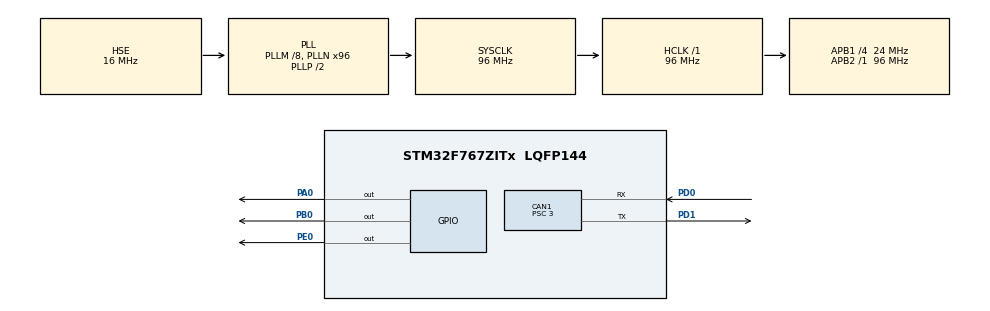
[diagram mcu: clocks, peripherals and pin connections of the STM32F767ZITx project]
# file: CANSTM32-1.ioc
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CAN1.BS1=CAN_BS1_13TQ
CAN1.BS2=CAN_BS2_2TQ
CAN1.CalculateBaudRate=500000
CAN1.CalculateTimeBit=2000
CAN1.CalculateTimeQuantum=125.0
CAN1.Prescaler=3
Mcu.Family=STM32F7
Mcu.Name=STM32F767ZITx
Mcu.Package=LQFP144
NVIC.CAN1_RX0_IRQn=true\:0\:0\:false\:false\:true\:true\:true\:true
NVIC.PriorityGroup=NVIC_PRIORITYGROUP_4
PA0/WKUP.Signal=GPIO_Output
PB0.Signal=GPIO_Output
PD0.GPIO_PuPd=GPIO_PULLUP
PD0.Mode=CAN_Activate
PD0.Signal=CAN1_RX
PD1.Mode=CAN_Activate
PD1.Signal=CAN1_TX
PE0.Signal=GPIO_Output
PH0/OSC_IN.Mode=HSE-External-Oscillator
PH0/OSC_IN.Signal=RCC_OSC_IN
PH1/OSC_OUT.Mode=HSE-External-Oscillator
PH1/OSC_OUT.Signal=RCC_OSC_OUT
ProjectManager.HeapSize=0x200
ProjectManager.StackSize=0x400
ProjectManager.TargetToolchain=STM32CubeIDE
RCC.48MHZClocksFreq_Value=24000000
RCC.AHBFreq_Value=96000000
RCC.APB1CLKDivider=RCC_HCLK_DIV4
RCC.APB1Freq_Value=24000000
RCC.APB1TimFreq_Value=48000000
RCC.APB2Freq_Value=96000000
RCC.APB2TimFreq_Value=96000000
RCC.CortexFreq_Value=96000000
RCC.HCLKFreq_Value=96000000
RCC.HSE_VALUE=16000000
RCC.HSI_VALUE=16000000
RCC.LSE_VALUE=32768
RCC.PLLM=8
RCC.PLLMUL=RCC_PLL_MUL9
RCC.PLLN=96
RCC.PLLSourceVirtual=RCC_PLLSOURCE_HSE
RCC.PRESCALERUSB=RCC_USBCLKSOURCE_PLL_DIV1_5
RCC.SYSCLKFreq_VALUE=96000000
RCC.SYSCLKSource=RCC_SYSCLKSOURCE_PLLCLK
RCC.SYSCLKSourceVirtual=RCC_SYSCLKSOURCE_PLLCLK
RCC.USBFreq_Value=96000000
RCC.VCOOutputFreq_Value=192000000
board=NUCLEO-F767ZI

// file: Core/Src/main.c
/* USER CODE BEGIN Header */
/**
  ******************************************************************************
  * @file           : main.c
  * @brief          : Main program body
  ******************************************************************************
  * @attention
  *
  * Copyright (c) 2024 STMicroelectronics.
  * All rights reserved.
  *
  * This software is licensed under terms that can be found in the LICENSE file
  * in the root directory of this software component.
  * If no LICENSE file comes with this software, it is provided AS-IS.
  *
  ******************************************************************************
  */
/* USER CODE END Header */
#include "main.h"

CAN_HandleTypeDef hcan1;

/* USER CODE BEGIN PV */
CAN_TxHeaderTypeDef htx1;
CAN_RxHeaderTypeDef hrx1;
uint32_t txMailbox;

uint8_t RGB_LED = 0x00;			// color of RGB LED
uint8_t BUTTON_PRESSED = 0;     // User button pressed on other MCU
uint8_t MSG_LED = 0;			// Signal to turn on LED connected to other MCU

/* USER CODE END PV */

void SystemClock_Config(void);
static void MX_GPIO_Init(void);
static void MX_CAN1_Init(void);
/* USER CODE BEGIN PFP */
// Interrupt-based routine that triggers when a message is received
void HAL_CAN_RxFifo0MsgPendingCallback(CAN_HandleTypeDef* hcan1){
	if(HAL_CAN_GetRxMessage(hcan1, CAN_RX_FIFO0, &hrx1, &BUTTON_PRESSED) != HAL_OK){
		Error_Handler();
	}
	else{
		if(BUTTON_PRESSED){
			RGB_LED = (RGB_LED + 1 <= 7) ? (RGB_LED + 1) : 0;	 // If user button pressed on other MCU, change RGB LED color
			MSG_LED = (RGB_LED == 0) ? 1 : 0;
			HAL_GPIO_WritePin(GPIOA, GPIO_PIN_0, RGB_LED & 0x01);
			HAL_GPIO_WritePin(GPIOB, GPIO_PIN_0, RGB_LED & 0x02);
			HAL_GPIO_WritePin(GPIOE, GPIO_PIN_0, RGB_LED & 0x04);
			BUTTON_PRESSED = 0;									 // Reset user button SW
		}
	}

	if(HAL_CAN_AddTxMessage(hcan1, &htx1, &MSG_LED, &txMailbox) != HAL_OK){
		Error_Handler();
	}
	else{
		while(HAL_CAN_GetTxMailboxesFreeLevel(hcan1) != 3){} // wait for successful transmission
	}
}
/* USER CODE END PFP */

int main(void)
{

  /* MCU Configuration--------------------------------------------------------*/

  /* Reset of all peripherals, Initializes the Flash interface and the Systick. */
  HAL_Init();

  /* Configure the system clock */
  SystemClock_Config();

  /* Initialize all configured peripherals */
  MX_GPIO_Init();
  MX_CAN1_Init();

  /* Infinite loop */
  while (1)
  {

  }
}

void SystemClock_Config(void)
{
  RCC_OscInitTypeDef RCC_OscInitStruct = {0};
  RCC_ClkInitTypeDef RCC_ClkInitStruct = {0};

  /** Configure the main internal regulator output voltage
  */
  __HAL_RCC_PWR_CLK_ENABLE();
  __HAL_PWR_VOLTAGESCALING_CONFIG(PWR_REGULATOR_VOLTAGE_SCALE3);

  /** Initializes the RCC Oscillators according to the specified parameters
  * in the RCC_OscInitTypeDef structure.
  */
  RCC_OscInitStruct.OscillatorType = RCC_OSCILLATORTYPE_HSE;
  RCC_OscInitStruct.HSEState = RCC_HSE_ON;
  RCC_OscInitStruct.PLL.PLLState = RCC_PLL_ON;
  RCC_OscInitStruct.PLL.PLLSource = RCC_PLLSOURCE_HSE;
  RCC_OscInitStruct.PLL.PLLM = 8;
  RCC_OscInitStruct.PLL.PLLN = 96;
  RCC_OscInitStruct.PLL.PLLP = RCC_PLLP_DIV2;
  RCC_OscInitStruct.PLL.PLLQ = 2;
  RCC_OscInitStruct.PLL.PLLR = 2;
  if (HAL_RCC_OscConfig(&RCC_OscInitStruct) != HAL_OK)
  {
    Error_Handler();
  }

  /** Activate the Over-Drive mode
  */
  if (HAL_PWREx_EnableOverDrive() != HAL_OK)
  {
    Error_Handler();
  }

  /** Initializes the CPU, AHB and APB buses clocks
  */
  RCC_ClkInitStruct.ClockType = RCC_CLOCKTYPE_HCLK|RCC_CLOCKTYPE_SYSCLK
                              |RCC_CLOCKTYPE_PCLK1|RCC_CLOCKTYPE_PCLK2;
  RCC_ClkInitStruct.SYSCLKSource = RCC_SYSCLKSOURCE_PLLCLK;
  RCC_ClkInitStruct.AHBCLKDivider = RCC_SYSCLK_DIV1;
  RCC_ClkInitStruct.APB1CLKDivider = RCC_HCLK_DIV4;
  RCC_ClkInitStruct.APB2CLKDivider = RCC_HCLK_DIV1;

  if (HAL_RCC_ClockConfig(&RCC_ClkInitStruct, FLASH_LATENCY_3) != HAL_OK)
  {
    Error_Handler();
  }
}

static void MX_CAN1_Init(void)
{

  hcan1.Instance = CAN1;
  hcan1.Init.Prescaler = 3;
  hcan1.Init.Mode = CAN_MODE_NORMAL;
  hcan1.Init.SyncJumpWidth = CAN_SJW_1TQ;
  hcan1.Init.TimeSeg1 = CAN_BS1_13TQ;
  hcan1.Init.TimeSeg2 = CAN_BS2_2TQ;
  hcan1.Init.TimeTriggeredMode = DISABLE;
  hcan1.Init.AutoBusOff = DISABLE;
  hcan1.Init.AutoWakeUp = DISABLE;
  hcan1.Init.AutoRetransmission = DISABLE;
  hcan1.Init.ReceiveFifoLocked = DISABLE;
  hcan1.Init.TransmitFifoPriority = DISABLE;
  if (HAL_CAN_Init(&hcan1) != HAL_OK)
  {
    Error_Handler();
  }
  /* USER CODE BEGIN CAN1_Init 2 */
  if (HAL_CAN_Start(&hcan1) != HAL_OK)
  {
    Error_Handler();
  }

  // MUST SET UP FILTER TO RECEIVE AND TRANSMIT CAN SIGNALS

  CAN_FilterTypeDef cfil;
  cfil.FilterActivation = ENABLE;
  cfil.FilterMode = CAN_FILTERMODE_IDMASK;
  cfil.FilterFIFOAssignment = CAN_FILTER_FIFO0;
  cfil.FilterBank = 0;						// specified to be between 0 and 13
  cfil.FilterScale = CAN_FILTERSCALE_32BIT; // 32-bit filter
  cfil.FilterMaskIdHigh = 0x7FF << 5; 		// Filter out all other Id's except for communication from the other NUCLEO
  cfil.FilterIdHigh = 0x010 << 5;			// ID of other NUCLEO
  cfil.FilterIdLow = 0;						// lower 16 bits remain unused
  cfil.FilterMaskIdLow = 0;

  // Configure the digital filter
  if(HAL_CAN_ConfigFilter(&hcan1, &cfil) != HAL_OK)
  {
  	Error_Handler();
  }

  // Trigger interrupts on message received
  if(HAL_CAN_ActivateNotification(&hcan1, CAN_IT_RX_FIFO0_MSG_PENDING) != HAL_OK)
  {
	Error_Handler();
  }

  htx1.StdId = 0x020;
  htx1.DLC = 1;							// 1 byte of data
  htx1.IDE = CAN_ID_STD;				// standard ID
  htx1.RTR = CAN_RTR_DATA;				// data frame
  htx1.TransmitGlobalTime = DISABLE;

  /* USER CODE END CAN1_Init 2 */

}

static void MX_GPIO_Init(void)
{
  GPIO_InitTypeDef GPIO_InitStruct = {0};

  /* GPIO Ports Clock Enable */
  __HAL_RCC_GPIOH_CLK_ENABLE();
  __HAL_RCC_GPIOA_CLK_ENABLE();
  __HAL_RCC_GPIOB_CLK_ENABLE();
  __HAL_RCC_GPIOD_CLK_ENABLE();
  __HAL_RCC_GPIOE_CLK_ENABLE();

  /*Configure GPIO pin Output Level */
  HAL_GPIO_WritePin(GPIOA, GPIO_PIN_0, GPIO_PIN_RESET);

  /*Configure GPIO pin Output Level */
  HAL_GPIO_WritePin(GPIOB, GPIO_PIN_0, GPIO_PIN_RESET);

  /*Configure GPIO pin Output Level */
  HAL_GPIO_WritePin(GPIOE, GPIO_PIN_0, GPIO_PIN_RESET);

  /*Configure GPIO pin : PA0 */
  GPIO_InitStruct.Pin = GPIO_PIN_0;
  GPIO_InitStruct.Mode = GPIO_MODE_OUTPUT_PP;
  GPIO_InitStruct.Pull = GPIO_NOPULL;
  GPIO_InitStruct.Speed = GPIO_SPEED_FREQ_LOW;
  HAL_GPIO_Init(GPIOA, &GPIO_InitStruct);

  /*Configure GPIO pin : PB0 */
  GPIO_InitStruct.Pin = GPIO_PIN_0;
  GPIO_InitStruct.Mode = GPIO_MODE_OUTPUT_PP;
  GPIO_InitStruct.Pull = GPIO_NOPULL;
  GPIO_InitStruct.Speed = GPIO_SPEED_FREQ_LOW;
  HAL_GPIO_Init(GPIOB, &GPIO_InitStruct);

  /*Configure GPIO pin : PE0 */
  GPIO_InitStruct.Pin = GPIO_PIN_0;
  GPIO_InitStruct.Mode = GPIO_MODE_OUTPUT_PP;
  GPIO_InitStruct.Pull = GPIO_NOPULL;
  GPIO_InitStruct.Speed = GPIO_SPEED_FREQ_LOW;
  HAL_GPIO_Init(GPIOE, &GPIO_InitStruct);

}

void Error_Handler(void)
{
  __disable_irq();
  while (1)
  {
  }
}
